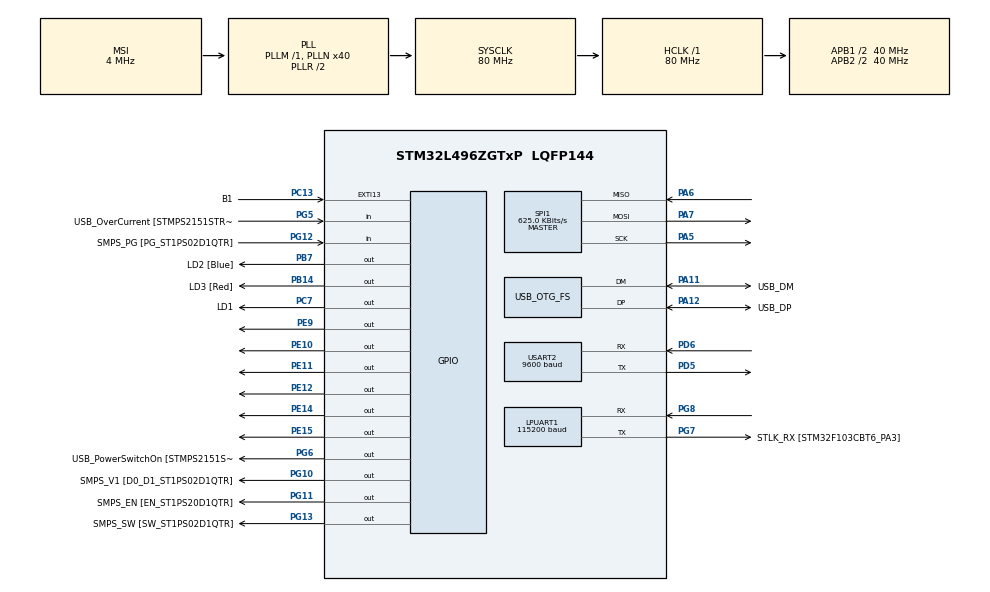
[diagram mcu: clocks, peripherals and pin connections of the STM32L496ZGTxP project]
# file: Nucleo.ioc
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LPUART1.BaudRate=115200
LPUART1.WordLength=UART_WORDLENGTH_8B
Mcu.Family=STM32L4
Mcu.Name=STM32L496ZGTxP
Mcu.Package=LQFP144
NVIC.EXTI15_10_IRQn=true\:0\:0\:false\:false\:true\:true\:true\:true
NVIC.LPUART1_IRQn=true\:0\:0\:false\:false\:true\:true\:true\:true
NVIC.OTG_FS_IRQn=true\:0\:0\:false\:false\:true\:true\:true\:true
NVIC.PriorityGroup=NVIC_PRIORITYGROUP_4
NVIC.USART2_IRQn=true\:0\:0\:false\:false\:true\:true\:true\:true
PA10.GPIO_Label=USB_ID
PA10.Signal=USB_OTG_FS_ID
PA11.GPIO_Label=USB_DM
PA11.Mode=Host_Only
PA11.Signal=USB_OTG_FS_DM
PA12.GPIO_Label=USB_DP
PA12.Mode=Host_Only
PA12.Signal=USB_OTG_FS_DP
PA13\ (JTMS/SWDIO).GPIO_Label=TMS
PA13\ (JTMS/SWDIO).Mode=Trace_Asynchronous_SW
PA13\ (JTMS/SWDIO).Signal=SYS_JTMS-SWDIO
PA14\ (JTCK/SWCLK).GPIO_Label=TCK
PA14\ (JTCK/SWCLK).Mode=Trace_Asynchronous_SW
PA14\ (JTCK/SWCLK).Signal=SYS_JTCK-SWCLK
PA5.GPIO_PuPd=GPIO_PULLDOWN
PA5.Mode=Full_Duplex_Master
PA5.Signal=SPI1_SCK
PA6.Mode=Full_Duplex_Master
PA6.Signal=SPI1_MISO
PA7.GPIO_PuPd=GPIO_PULLDOWN
PA7.Mode=Full_Duplex_Master
PA7.Signal=SPI1_MOSI
PA8.GPIO_Label=USB_SOF [TP1]
PA8.Signal=USB_OTG_FS_SOF
PA9.GPIO_Label=USB_VBUS
PA9.Signal=USB_OTG_FS_VBUS
PB14.GPIO_Label=LD3 [Red]
PB14.Signal=GPIO_Output
PB3\ (JTDO/TRACESWO).GPIO_Label=SWO
PB3\ (JTDO/TRACESWO).Mode=Trace_Asynchronous_SW
PB3\ (JTDO/TRACESWO).Signal=SYS_JTDO-SWO
PB5.Signal=USART1_CK
PB7.GPIO_Label=LD2 [Blue]
PB7.Signal=GPIO_Output
PC13.GPIO_Label=B1
PC13.GPIO_ModeDefaultEXTI=GPIO_MODE_IT_RISING
PC13.Signal=GPXTI13
PC14-OSC32_IN\ (PC14).Mode=LSE-External-Oscillator
PC14-OSC32_IN\ (PC14).Signal=RCC_OSC32_IN
PC15-OSC32_OUT\ (PC15).Mode=LSE-External-Oscillator
PC15-OSC32_OUT\ (PC15).Signal=RCC_OSC32_OUT
PC7.GPIO_Label=LD1
PC7.Signal=GPIO_Output
PD5.Mode=Asynchronous
PD5.Signal=USART2_TX
PD6.Mode=Asynchronous
PD6.Signal=USART2_RX
PE10.Signal=GPIO_Output
PE11.Signal=GPIO_Output
PE12.Signal=GPIO_Output
PE14.Signal=GPIO_Output
PE15.Signal=GPIO_Output
PE9.Signal=GPIO_Output
PG10.GPIO_Label=SMPS_V1 [D0_D1_ST1PS02D1QTR]
PG10.Signal=GPIO_Output
PG11.GPIO_Label=SMPS_EN [EN_ST1PS20D1QTR]
PG11.Signal=GPIO_Output
PG12.GPIO_Label=SMPS_PG [PG_ST1PS02D1QTR]
PG12.Signal=GPIO_Input
PG13.GPIO_Label=SMPS_SW [SW_ST1PS02D1QTR]
PG13.Signal=GPIO_Output
PG5.GPIO_Label=USB_OverCurrent [STMPS2151STR_FAULT]
PG5.Signal=GPIO_Input
PG6.GPIO_Label=USB_PowerSwitchOn [STMPS2151STR_EN]
PG6.Signal=GPIO_Output
PG7.GPIO_Label=STLK_RX [STM32F103CBT6_PA3]
PG7.Mode=Asynchronous
PG7.Signal=LPUART1_TX
PG8.Mode=Asynchronous
PG8.Signal=LPUART1_RX
PH0-OSC_IN\ (PH0).GPIO_Label=MCO
PH0-OSC_IN\ (PH0).Mode=HSE-External-Oscillator
PH0-OSC_IN\ (PH0).Signal=RCC_OSC_IN
PH1-OSC_OUT\ (PH1).Mode=HSE-External-Oscillator
PH1-OSC_OUT\ (PH1).Signal=RCC_OSC_OUT
ProjectManager.HeapSize=0x200
ProjectManager.StackSize=0x400
ProjectManager.TargetToolchain=STM32CubeIDE
RCC.48MHZClocksFreq_Value=24000000
RCC.ADCFreq_Value=48000000
RCC.AHBFreq_Value=80000000
RCC.APB1CLKDivider=RCC_HCLK_DIV2
RCC.APB1Freq_Value=40000000
RCC.APB1TimFreq_Value=80000000
RCC.APB2CLKDivider=RCC_HCLK_DIV2
RCC.APB2Freq_Value=40000000
RCC.APB2TimFreq_Value=80000000
RCC.CortexFreq_Value=80000000
RCC.HCLKFreq_Value=80000000
RCC.HSE_VALUE=4000000
RCC.HSI48_VALUE=48000000
RCC.HSI_VALUE=16000000
RCC.MSI_VALUE=4000000
RCC.PLLMUL=RCC_PLL_MUL9
RCC.PLLN=40
RCC.PLLSAI1N=24
RCC.PRESCALERUSB=RCC_USBCLKSOURCE_PLL_DIV1_5
RCC.SYSCLKFreq_VALUE=80000000
RCC.SYSCLKSource=RCC_SYSCLKSOURCE_PLLCLK
RCC.SYSCLKSourceVirtual=RCC_SYSCLKSOURCE_PLLCLK
RCC.USBFreq_Value=48000000
RCC.VCOOutputFreq_Value=160000000
SPI1.BaudRatePrescaler=SPI_BAUDRATEPRESCALER_64
SPI1.CalculateBaudRate=625.0 KBits/s
SPI1.DataSize=SPI_DATASIZE_8BIT
SPI1.Direction=SPI_DIRECTION_2LINES
SPI1.Mode=SPI_MODE_MASTER
SPI1.NSSPMode=SPI_NSS_PULSE_DISABLE
SPI1.VirtualType=VM_MASTER
USART2.BaudRate=9600
USART2.VirtualMode-Asynchronous=VM_ASYNC
USB_HOST.BSP.number=1
USB_HOST.USBH_HandleTypeDef=hUsbHostFS
USB_HOST.VirtualModeFS=Audio
USB_HOST0.BSP.STBoard=false
USB_HOST0.BSP.api=UnknownBspDriver
USB_HOST0.BSP.instance=PG6
USB_HOST0.BSP.ip=GPIO
USB_HOST0.BSP.mode=Output
USB_HOST0.BSP.name=Drive_VBUS_FS
USB_HOST0.BSP.solution=PG6
USB_OTG_FS.VirtualMode=Host_Only
USB_OTG_FS.phy_itface=HCD_PHY_EMBEDDED
VP_USB_HOST_VS_USB_HOST_AUDIO_FS.Mode=AUDIO_FS
board=NUCLEO-L496ZG-P

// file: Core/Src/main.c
/* USER CODE BEGIN Header */

/**
  ******************************************************************************
  * @file           : main.c
  * @brief          : Main program body
  ******************************************************************************
  * @attention
  *
  * Copyright (c) 2023 STMicroelectronics.
  * All rights reserved.
  *
  * This software is licensed under terms that can be found in the LICENSE file
  * in the root directory of this software component.
  * If no LICENSE file comes with this software, it is provided AS-IS.
  *
  ******************************************************************************
  */
/* USER CODE END Header */
#include "main.h"
#include "usb_host.h"

UART_HandleTypeDef hlpuart1;
UART_HandleTypeDef huart2;

SPI_HandleTypeDef hspi1;

/* USER CODE BEGIN PV */

unsigned long numTestsMRAM0 = 0;
unsigned long  numTestsMRAM1 = 0;
unsigned long  numTestsMRAM2 = 0;
unsigned long  numTestsMRAM3 = 0;
unsigned long  numTestsMRAM4 = 0;
unsigned long  numTestsMRAM5 = 0;

uint32_t numFailsMRAM0 = 0;
uint32_t numFailsMRAM1 = 0;
uint32_t numFailsMRAM2 = 0;
uint32_t numFailsMRAM3 = 0;
uint32_t numFailsMRAM4 = 0;
uint32_t numFailsMRAM5 = 0;

uint8_t currChip = 0;
uint8_t currState = 0;
uint8_t consoleMode = 1;

uint8_t wren = 0x06;
uint8_t configure_code_1[] = {0x71,0x00,0x00,0x05,0x05}; // code for configuring avalanche AS1016A04
uint8_t configure_code_2[] = {0x71,0x00,0x00,0x05,0x02}; // code for configuring NETSOL S3A1604V0M
uint8_t Rx[1] = {'\0'};
uint8_t read = 0;
char testDetailCmd[3] = { '?', '\r', '\n'};
/* USER CODE END PV */

void SystemClock_Config(void);
static void MX_GPIO_Init(void);
static void MX_USART2_UART_Init(void);
static void MX_SPI1_Init(void);
static void MX_LPUART1_UART_Init(void);
void MX_USB_HOST_Process(void);

/* USER CODE BEGIN PFP */
void HAL_GPIO_EXTI_Callback(uint16_t GPIO_Pin);
//void HAL_UART_RxCpltCallback(UART_HandleTypeDef *huart);
void WriteMem(uint8_t chip, uint32_t addr, uint16_t length, uint8_t* data);
void ReadMem(uint8_t chip, uint32_t addr, uint16_t length, uint8_t* buffer);
/* USER CODE END PFP */

/* USER CODE BEGIN 0 */

void clrstr(uint8_t* str, int len){
	for(int i=0; i<len; i++){
		*(str+i)='\0';
	}
}

// wait in nanoseconds
void delay_ns(uint32_t ns){
	//get system clock frequency
	uint32_t system_clock_hz = SystemCoreClock;
	//calculate the number of cycles required for this delay
	uint64_t cycles_needed_64 = (uint64_t)system_clock_hz * ns;

	//Now divide by the number of nanoseconds in a second
	uint32_t cycles_needed = cycles_needed_64/1000000000;

	uint32_t start_cycle = DWT->CYCCNT;
	while((DWT->CYCCNT-start_cycle)<cycles_needed);
}

void HAL_UART_RxCpltCallback(UART_HandleTypeDef *huart){                                       // Weakly defined function, used for callback in the ISR in this case
	                                                                                          // Better practice to have it in a separate file
	HAL_UART_Receive_IT(&hlpuart1, Rx, 1); //It will then self-sustain

    if(Rx[0]==testDetailCmd[read])                                                    //strcmp may be wrongly used here
      {
      	read++;
      }
    else
      {
    	  if(Rx[0]==testDetailCmd[0]){
    		  read = 1;
    	  }
    	  else{
    	      	read=0;
    	  }
      }
      if(read>=2)
      {
      	read=0;
      	if(consoleMode){
      		uint8_t data[76];
      		clrstr(data, 76);
      		HAL_UART_Transmit(&hlpuart1,"Memory Test Latest Results: \r\n\n" ,31,40); //SET TO /0 SO AS TO REMOVE EXTRANEOUS STUFF
      		clrstr(data, 76);
      		sprintf(data, "MRAM0 tests completed:\t%lu\r\nMRAM0 failures:\t\t%u\r\n", numTestsMRAM0, numFailsMRAM0);
      		HAL_UART_Transmit(&hlpuart1,data,strlen(data),40);
      		clrstr(data, 76);
      		sprintf(data, "MRAM1 tests completed:\t%lu\r\nMRAM1 failures:\t\t%u\r\n", numTestsMRAM1, numFailsMRAM1);
      		HAL_UART_Transmit(&hlpuart1,data,strlen(data),40);
      		clrstr(data, 76);
      		sprintf(data, "MRAM2 tests completed:\t%lu\r\nMRAM2 failures:\t\t%u\r\n", numTestsMRAM2, numFailsMRAM2);
      		HAL_UART_Transmit(&hlpuart1,data,strlen(data),40);
      		clrstr(data, 76);
      		sprintf(data, "MRAM3 tests completed:\t%lu\r\nMRAM3 failures:\t\t%u\r\n", numTestsMRAM3, numFailsMRAM3);
      		HAL_UART_Transmit(&hlpuart1,data,strlen(data),40);
      		clrstr(data, 76);
      		sprintf(data, "MRAM4 tests completed:\t%lu\r\nMRAM4 failures:\t\t%u\r\n", numTestsMRAM4, numFailsMRAM4);
      		HAL_UART_Transmit(&hlpuart1,data,strlen(data),40);
      		clrstr(data, 76);
      		sprintf(data, "MRAM5 tests completed:\t%lu\r\nMRAM5 failures:\t\t%u\r\n", numTestsMRAM5, numFailsMRAM5);
      		HAL_UART_Transmit(&hlpuart1,data,strlen(data),40);
      		clrstr(data, 76);

      		HAL_UART_Transmit(&hlpuart1,"\nCurrently testing chip ",24,40);
      		switch(currChip){
      		case 0:
      			HAL_UART_Transmit(&hlpuart1,"MRAM0\r\n",7,40);
      			break;
      		case 1:
      			HAL_UART_Transmit(&hlpuart1,"MRAM1\r\n",7,40);
      			break;
      		case 2:
      			HAL_UART_Transmit(&hlpuart1,"MRAM2\r\n",7,40);
      			break;
      		case 3:
      			HAL_UART_Transmit(&hlpuart1,"MRAM3\r\n",7,40);
      			break;
      		case 4:
      			HAL_UART_Transmit(&hlpuart1,"MRAM4\r\n",7,40);
      			break;
      		case 5:
      			HAL_UART_Transmit(&hlpuart1,"MRAM5\r\n",7,40);
      			break;
      		}
      		HAL_UART_Transmit(&hlpuart1,"Current state: ",15,40);
      		switch(currState){
      		case 0:
      			HAL_UART_Transmit(&hlpuart1,"UP:w0\r\n\r\n",9,40);
      			break;
      		case 1:
      			HAL_UART_Transmit(&hlpuart1,"UP:r0 w1\r\n\r\n",12,40);
      			break;
      		case 2:
      			HAL_UART_Transmit(&hlpuart1,"UP:r1 w0\r\n\r\n",12,40);
      			break;
      		case 3:
      			HAL_UART_Transmit(&hlpuart1,"DOWN:r0 w1\r\n\r\n",14,40);
      			break;
      		case 4:
      			HAL_UART_Transmit(&hlpuart1,"DOWN:r1 w0\r\n\r\n",14,40);
      			break;
      		case 5:
      			HAL_UART_Transmit(&hlpuart1,"DOWN:r0\r\n\r\n",11,40);
      			break;
      		}
      	}
      	else{                       // The rest of the function won't be used
      		uint8_t data[28];

      		data[0] = (numTestsMRAM0>>24)&0x000000FF;
      		data[1] = (numTestsMRAM0>>16)&0x000000FF;
      		data[2] = (numTestsMRAM0>>8)&0x000000FF;
      		data[3] = numTestsMRAM0&0x000000FF;              //for MRAM0
      		data[4] = (numTestsMRAM1>>24)&0x000000FF;
      		data[5] = (numTestsMRAM1>>16)&0x000000FF;
      		data[6] = (numTestsMRAM1>>8)&0x000000FF;
      		data[7] = numTestsMRAM1&0x000000FF;              //for MRAM1
      		data[8] = (numTestsMRAM2>>24)&0x000000FF;
      		data[9] = (numTestsMRAM2>>16)&0x000000FF;
      		data[10] = (numTestsMRAM2>>8)&0x000000FF;
      		data[11] = numTestsMRAM2&0x000000FF;             //for MRAM2
      		data[12] = (numTestsMRAM3>>24)&0x000000FF;
      		data[13] = (numTestsMRAM3>>16)&0x000000FF;
      		data[14] = (numTestsMRAM3>>8)&0x000000FF;
      		data[15] = numTestsMRAM3&0x000000FF;             //for MRAM3

      		data[16] = (numFailsMRAM0>>8)&0x00FF;
      		data[17] = numFailsMRAM0&0x00FF;
      		data[18] = (numFailsMRAM1>>8)&0x00FF;
      		data[19] = numFailsMRAM1&0x00FF;
      		data[20] = (numFailsMRAM2>>8)&0x00FF;
      		data[21] = numFailsMRAM2&0x00FF;
      		data[22] = (numFailsMRAM3>>8)&0x00FF;
      		data[23] = numFailsMRAM3&0x00FF;

      		data[24] = currChip;
      		data[25] = currState;

      		data[26] = '\r';
      		data[27] = '\n';

      		HAL_UART_Transmit(&hlpuart1,data,28,30);

      	}
      }
      Rx[0] = '\0';

}

void WriteMem(uint8_t chip, uint32_t addr, uint16_t length, uint8_t* data){
	length += 4; //Account for the header
	uint16_t selectedPin = 0;
	switch(chip){
	case 0:
		selectedPin = 1024;
		break;
	case 1:
		selectedPin = 4096;
		break;
	case 2:
		selectedPin = 16384;
		break;
	case 3:
		selectedPin = 32768;
		break;
	case 4:
		selectedPin = 512;
		break;
	case 5:
		selectedPin = 2048;
		break;
	}

	/*if(chip>1){ //If it's FRAM we need to re-enable writes after every write
		  HAL_GPIO_WritePin(GPIOE, GPIO_PIN_14|GPIO_PIN_15, GPIO_PIN_RESET); //Set WRite ENable
		  HAL_SPI_Transmit(&hspi1, &wren, 1, 10);
		  HAL_GPIO_WritePin(GPIOE, GPIO_PIN_14|GPIO_PIN_15, GPIO_PIN_SET);
	}*/

	uint8_t TxBuff[length];
	TxBuff[0] = 0x02;
	TxBuff[1] = (addr>>16)&0x0000FF;
	TxBuff[2] = (addr>>8)&0x0000FF;
	TxBuff[3] = (addr)&0x0000FF;                                                                   //we only need the first 24 bits (16Mb)

	for(int i=4; i<length; i++){
		TxBuff[i] = *(data+(i-4)); //Loop through all the data and put it into the Tx buffer.
	}

	HAL_GPIO_WritePin(GPIOE, selectedPin, GPIO_PIN_RESET);
	HAL_SPI_Transmit(&hspi1, (uint8_t *)TxBuff, length, 100);
	HAL_GPIO_WritePin(GPIOE, selectedPin, GPIO_PIN_SET);
}

void ReadMem(uint8_t chip, uint32_t addr, uint16_t length, uint8_t* buffer){
	length += 4; //Account for the header

	uint16_t selectedPin = 0;
	switch(chip){
	case 0:
		selectedPin = 1024;
		break;
	case 1:
		selectedPin = 4096;
		break;
	case 2:
		selectedPin = 16384;
		break;
	case 3:
		selectedPin = 32768;
		break;
	case 4:
		selectedPin = 512;
		break;
	case 5:
		selectedPin = 2048;
		break;
	}

	uint8_t TxBuff[length];
	TxBuff[0] = 0x03;
	TxBuff[1] = (addr>>16)&0x0000FF;
	TxBuff[2] = (addr>>8)&0x0000FF;
	TxBuff[3] = (addr)&0x0000FF;
	for(int j = 4; j< length; j++){
		TxBuff[j] = '\0';
	}
	uint8_t RxBuff[length];

	HAL_GPIO_WritePin(GPIOE, selectedPin, GPIO_PIN_RESET);
	HAL_SPI_TransmitReceive(&hspi1, (uint8_t *)TxBuff, (uint8_t *)RxBuff, length, length);
	HAL_GPIO_WritePin(GPIOE, selectedPin, GPIO_PIN_SET);

	for(int i=4; i<length; i++){
		*(buffer+(i-4)) = RxBuff[i]; //Load all the received data into the proper location
	}

}

// this is the Memory test for 4Mb MR25H40MDF
void MemTest(int chip, uint32_t* fails, unsigned long* num_reads){

    uint8_t zero = 0;                 //Maybe make a 6-deep array of ints to track the failures in each march element?   //failure is redundant
    uint8_t one = 255;
    uint8_t readByte = 0;
    uint8_t writeByte = 0;

    currState = 0;
    HAL_UART_Transmit(&hlpuart1,(uint8_t*)"currState 0\r\n",13,50);
    HAL_GPIO_WritePin(GPIOB, GPIO_PIN_7, GPIO_PIN_SET);
    //UP(w0);
    for(int x=0; x<524288; x++){ //Loop through each memory location
    	WriteMem(chip, x, 1, &zero); //Write a 0 at each address                                     // the final 0 is suspicious, it may cause error bc it should be a pointer
    }

    currState = 1;
    HAL_UART_Transmit(&hlpuart1,(uint8_t*)"currState 1\r\n",13,50);
    HAL_GPIO_WritePin(GPIOC, GPIO_PIN_7, GPIO_PIN_SET);
    //UP(r0, w1);
    for(int y=0; y<524288; y++){ 		//Loop through each memory location
    	for(int z=0; z<8; z++){ 		//Read 0, write 1 at each bit
    		ReadMem(chip, y, 1, &readByte);

    		(*num_reads) ++;
    		writeByte = readByte;
    		writeByte |= (0x01<<(7-z)); //Copy the byte, except we set the MSb to 1
    		*fails += (readByte>>(7-z))&0x01; //Read the MSb and if it's not 0, increment failures

        	WriteMem(chip, y, 1, &writeByte); //Read 0, write 1 at each bit
    	}
    }

    HAL_GPIO_WritePin(GPIOC, GPIO_PIN_7, GPIO_PIN_RESET);

    currState = 2;
    HAL_UART_Transmit(&hlpuart1,(uint8_t*)"currState 2\r\n",13,50);
    HAL_GPIO_WritePin(GPIOB, GPIO_PIN_14, GPIO_PIN_SET);
    //UP(r1, w0);
    for(int y=0; y<524288; y++){ 		//Loop through each memory location
    	for(int z=0; z<8; z++){ 		//Read 1, write 0 at each bit
    		ReadMem(chip, y, 1, &readByte);

    		(*num_reads) ++;

    		writeByte = readByte;
    		writeByte &= ~(0x01<<(7-z)); //Copy the byte, except we set the MSb to 0
    		*fails += ((~readByte)>>(7-z))&0x01; //Read the MSb and if it's not 1, increment failures
        	WriteMem(chip, y, 1, &writeByte);

    	}
    }
    HAL_GPIO_WritePin(GPIOB, GPIO_PIN_14, GPIO_PIN_RESET);

    HAL_GPIO_WritePin(GPIOB, GPIO_PIN_7, GPIO_PIN_RESET);

    currState = 3;
    HAL_GPIO_WritePin(GPIOC, GPIO_PIN_7, GPIO_PIN_SET);
    //DOWN(r0, w1);
    for(int y=524287; y>=0; y--){ 		//Loop through each memory location
    	for(int z=0; z<8; z++){ 		//Read 0, write 1 at each bit
    		ReadMem(chip, y, 1, &readByte);

    		(*num_reads) ++;

    		writeByte = readByte;
    		writeByte |= (0x01<<z); //Copy the byte, except we set the LSb to 1
    		*fails += (readByte>>z)&0x01; //Read the LSb and if it's not 0, increment failures
        	WriteMem(chip, y, 1, &writeByte);
    	}
    }
    HAL_GPIO_WritePin(GPIOC, GPIO_PIN_7, GPIO_PIN_RESET);

    currState = 4;
    HAL_GPIO_WritePin(GPIOB, GPIO_PIN_14, GPIO_PIN_SET);
    //DOWN(r1, w0);
    for(int y=524287; y>=0; y--){ 		//Loop through each memory location
    	for(int z=0; z<8; z++){			//Read 1, write 0 at each bit
    		ReadMem(chip, y, 1, &readByte);

    		(*num_reads) ++;

    		writeByte = readByte;
    		writeByte &= ~(0x01<<z); //Copy the byte, except we set the LSb to 0
    		*fails += ((~readByte)>>z)&0x01; //Read the LSb and if it's not 1, increment failures
        	WriteMem(chip, y, 1, &writeByte);
    	}
    }
    HAL_GPIO_WritePin(GPIOB, GPIO_PIN_14, GPIO_PIN_RESET);

    currState = 5;
    //DOWN(r0);
    for(int y=524287; y>=0; y--){ 		//Loop through each memory location
    	ReadMem(chip, y, 1, &readByte);

    	(*num_reads)++;

    	if(readByte>0){
    		(*fails)++;					//If any bytes are non-zero, increment failures
    	}
    }

    return;
}

// Memory test for memory with 16M memory (The remaining three MRAMs)
void MemTest_16(int chip, uint32_t* fails, unsigned long* num_reads){

    uint8_t zero = 0;                 //Maybe make a 6-deep array of ints to track the failures in each march element?   //failure is redundant
    uint8_t readByte = 0;
    uint8_t writeByte = 0;

    currState = 0;

    HAL_GPIO_WritePin(GPIOB, GPIO_PIN_7, GPIO_PIN_SET);
    //UP(w0);
    for(int x=0; x<2097152; x++){ //Loop through each memory location
    	WriteMem(chip, x, 1, &zero); //Write a 0 at each address                                     // the final 0 is suspicious, it may cause error bc it should be a pointer
    }

    /*uint8_t data[16];
    ReadMem(1, 100, 1, &readByte);
    sprintf(data, "read value:\t\t%u\r\n", readByte);
    HAL_UART_Transmit(&hlpuart1,data,sizeof(data),100);*/

    currState = 1;
    HAL_GPIO_WritePin(GPIOC, GPIO_PIN_7, GPIO_PIN_SET);
    //UP(r0, w1);
    for(int y=0; y<2097152; y++){ 		//Loop through each memory location
    	for(int z=0; z<8; z++){ 		//Read 0, write 1 at each bit
    		ReadMem(chip, y, 1, &readByte);
    		(*num_reads)++;
    		writeByte = readByte;
    		writeByte |= (0x01<<(7-z)); //Copy the byte, except we set the MSb to 1
    		*fails += (readByte>>(7-z))&0x01; //Read the MSb and if it's not 0, increment failures
        	WriteMem(chip, y, 1, &writeByte); //Read 0, write 1 at each bit
    	}
    }
    HAL_GPIO_WritePin(GPIOC, GPIO_PIN_7, GPIO_PIN_RESET);

    currState = 2;
    HAL_GPIO_WritePin(GPIOB, GPIO_PIN_14, GPIO_PIN_SET);
    //UP(r1, w0);
    for(int y=0; y<2097152; y++){ 		//Loop through each memory location
    	for(int z=0; z<8; z++){ 		//Read 1, write 0 at each bit
    		ReadMem(chip, y, 1, &readByte);
    		(*num_reads)++;
    		writeByte = readByte;
    		writeByte &= ~(0x01<<(7-z)); //Copy the byte, except we set the MSb to 0
    		*fails += ((~readByte)>>(7-z))&0x01; //Read the MSb and if it's not 1, increment failures
        	WriteMem(chip, y, 1, &writeByte);
    	}
    }
    HAL_GPIO_WritePin(GPIOB, GPIO_PIN_14, GPIO_PIN_RESET);

    HAL_GPIO_WritePin(GPIOB, GPIO_PIN_7, GPIO_PIN_RESET);

    currState = 3;
    HAL_GPIO_WritePin(GPIOC, GPIO_PIN_7, GPIO_PIN_SET);
    //DOWN(r0, w1);
    for(int y=2097151; y>=0; y--){ 		//Loop through each memory location
    	for(int z=0; z<8; z++){ 		//Read 0, write 1 at each bit
    		ReadMem(chip, y, 1, &readByte);
    		(*num_reads)++;
    		writeByte = readByte;
    		writeByte |= (0x01<<z); //Copy the byte, except we set the LSb to 1
    		*fails += (readByte>>z)&0x01; //Read the LSb and if it's not 0, increment failures
        	WriteMem(chip, y, 1, &writeByte);

    	}
    }
    HAL_GPIO_WritePin(GPIOC, GPIO_PIN_7, GPIO_PIN_RESET);

    currState = 4;
    HAL_GPIO_WritePin(GPIOB, GPIO_PIN_14, GPIO_PIN_SET);
    //DOWN(r1, w0);
    for(int y=2097151; y>=0; y--){ 		//Loop through each memory location
    	for(int z=0; z<8; z++){			//Read 1, write 0 at each bit
    		ReadMem(chip, y, 1, &readByte);
    		(*num_reads)++;
    		writeByte = readByte;
    		writeByte &= ~(0x01<<z); //Copy the byte, except we set the LSb to 0
    		*fails += ((~readByte)>>z)&0x01; //Read the LSb and if it's not 1, increment failures
        	WriteMem(chip, y, 1, &writeByte);
    	}
    }
    HAL_GPIO_WritePin(GPIOB, GPIO_PIN_14, GPIO_PIN_RESET);

    currState = 5;
    //DOWN(r0);
    for(int y=2097151; y>=0; y--){ 		//Loop through each memory location
    	ReadMem(chip, y, 1, &readByte);
    	(*num_reads)++;
    	if(readByte>0){
    		(*fails)++;					//If any bytes are non-zero, increment failures
    	}
    }

    return;

}

/* USER CODE END 0 */

int main(void)
{

  /* MCU Configuration--------------------------------------------------------*/

  /* Reset of all peripherals, Initializes the Flash interface and the Systick. */
  HAL_Init();

  /* Configure the system clock */
  SystemClock_Config();

  /* Initialize all configured peripherals */
  MX_GPIO_Init();
  MX_USB_HOST_Init();
  MX_USART2_UART_Init();
  MX_SPI1_Init();
  MX_LPUART1_UART_Init();
  /* USER CODE BEGIN 2 */
  CoreDebug->DEMCR |= CoreDebug_DEMCR_TRCENA_Msk;
  DWT->CTRL |= DWT_CTRL_CYCCNTENA_Msk;
  DWT->CYCCNT =0;

  HAL_GPIO_WritePin(GPIOE, GPIO_PIN_9|GPIO_PIN_10|GPIO_PIN_11|GPIO_PIN_12|GPIO_PIN_14|GPIO_PIN_15, GPIO_PIN_RESET); //Set WRite ENable
  HAL_SPI_Transmit(&hspi1, &wren, 1, 10); // to enable write on the MRAM chip
  HAL_GPIO_WritePin(GPIOE, GPIO_PIN_9|GPIO_PIN_10|GPIO_PIN_11|GPIO_PIN_12|GPIO_PIN_14|GPIO_PIN_15, GPIO_PIN_SET);

  HAL_UART_Receive_IT(&hlpuart1, Rx, 1);

  HAL_Delay(1); //short delay between transactions

  //We have to configure the mode of "Avalanche AS1016A04/Avalanche AS1004A04" such that we get the back-to-back mode
  //Then we don't need wren every time we want to write
  HAL_GPIO_WritePin(GPIOE,  GPIO_PIN_9|GPIO_PIN_10|GPIO_PIN_11|GPIO_PIN_12|GPIO_PIN_14|GPIO_PIN_15, GPIO_PIN_RESET);
  HAL_SPI_Transmit(&hspi1, configure_code_1, 5, 20);
  HAL_GPIO_WritePin(GPIOE,  GPIO_PIN_9|GPIO_PIN_10|GPIO_PIN_11|GPIO_PIN_12|GPIO_PIN_14|GPIO_PIN_15, GPIO_PIN_SET);
/*
  //we have to configure the mode of "NETSOL S3A1606VOM" such that we get the back-to-back mode
  //Then we don't need wren every time we want to write
  HAL_GPIO_WritePin(GPIOE, GPIO_PIN_15, GPIO_PIN_RESET);
  HAL_SPI_Transmit(&hspi1, configure_code_2, 5, 20);
  HAL_GPIO_WritePin(GPIOE, GPIO_PIN_15, GPIO_PIN_SET);
*/

  HAL_GPIO_WritePin(GPIOE,  GPIO_PIN_9|GPIO_PIN_10|GPIO_PIN_11|GPIO_PIN_12|GPIO_PIN_14|GPIO_PIN_15, GPIO_PIN_RESET); //Set WRite ENable
  HAL_SPI_Transmit(&hspi1, &wren, 1, 10); // to enable write on the MRAM chip
  HAL_GPIO_WritePin(GPIOE,  GPIO_PIN_9|GPIO_PIN_10|GPIO_PIN_11|GPIO_PIN_12|GPIO_PIN_14|GPIO_PIN_15, GPIO_PIN_SET);

  HAL_UART_Transmit(&hlpuart1, (uint8_t*)"\r\n", 2, 1000);//Get the interrupt running
  /* USER CODE END 2 */

  /* Infinite loop */
  /* USER CODE BEGIN WHILE */

  // check if the code is actually running

  int pos = 0;
  uint8_t writeByte = 0;
  uint8_t readByte = 0;
  int chip = 0;
  uint8_t data[37];

  while (1)
  {
    /* USER CODE END WHILE */
    MX_USB_HOST_Process();

    /* USER CODE BEGIN 3 */

    /*currChip = 0;
    MemTest(0, &numFailsMRAM0,&numTestsMRAM0);

    currChip = 1;
    MemTest(1, &numFailsMRAM1, &numTestsMRAM1);

    currChip = 2;
    MemTest(2, &numFailsMRAM2, &numTestsMRAM2);

    currChip = 3;
    MemTest(3, &numFailsMRAM3, &numTestsMRAM3);

    currChip = 4;
    MemTest(4, &numFailsMRAM4, &numTestsMRAM4);

    currChip = 5;
    MemTest(5, &numFailsMRAM5, &numTestsMRAM5);*/

    WriteMem(chip, pos, 1, &writeByte); //Read 0, write 1 at each bit
    ReadMem(chip, pos, 1, &readByte);

    sprintf(data, "chip number: %u  read value:\t\t%u\r\n",chip,readByte);
    HAL_UART_Transmit(&hlpuart1,data,sizeof(data),20);
    clrstr(data,37);

    chip++;
    pos++;
    if (chip==6){
    	chip=0;
    	writeByte++;
    }
    if (writeByte==256){
    	writeByte=0;
    }
    HAL_Delay(1000);
    if (writeByte!=readByte){
    	numFailsMRAM0++;
    }

  }

  /* USER CODE END 3 */
}

void SystemClock_Config(void)
{
  RCC_OscInitTypeDef RCC_OscInitStruct = {0};
  RCC_ClkInitTypeDef RCC_ClkInitStruct = {0};

  /** Configure the main internal regulator output voltage
  */
  if (HAL_PWREx_ControlVoltageScaling(PWR_REGULATOR_VOLTAGE_SCALE1) != HAL_OK)
  {
    Error_Handler();
  }

  /** Configure LSE Drive Capability
  */
  HAL_PWR_EnableBkUpAccess();
  __HAL_RCC_LSEDRIVE_CONFIG(RCC_LSEDRIVE_LOW);

  /** Initializes the RCC Oscillators according to the specified parameters
  * in the RCC_OscInitTypeDef structure.
  */
  RCC_OscInitStruct.OscillatorType = RCC_OSCILLATORTYPE_LSE|RCC_OSCILLATORTYPE_MSI;
  RCC_OscInitStruct.LSEState = RCC_LSE_ON;
  RCC_OscInitStruct.MSIState = RCC_MSI_ON;
  RCC_OscInitStruct.MSICalibrationValue = 0;
  RCC_OscInitStruct.MSIClockRange = RCC_MSIRANGE_6;
  RCC_OscInitStruct.PLL.PLLState = RCC_PLL_ON;
  RCC_OscInitStruct.PLL.PLLSource = RCC_PLLSOURCE_MSI;
  RCC_OscInitStruct.PLL.PLLM = 1;
  RCC_OscInitStruct.PLL.PLLN = 40;
  RCC_OscInitStruct.PLL.PLLP = RCC_PLLP_DIV2;
  RCC_OscInitStruct.PLL.PLLQ = RCC_PLLQ_DIV2;
  RCC_OscInitStruct.PLL.PLLR = RCC_PLLR_DIV2;
  if (HAL_RCC_OscConfig(&RCC_OscInitStruct) != HAL_OK)
  {
    Error_Handler();
  }

  /** Initializes the CPU, AHB and APB buses clocks
  */
  RCC_ClkInitStruct.ClockType = RCC_CLOCKTYPE_HCLK|RCC_CLOCKTYPE_SYSCLK
                              |RCC_CLOCKTYPE_PCLK1|RCC_CLOCKTYPE_PCLK2;
  RCC_ClkInitStruct.SYSCLKSource = RCC_SYSCLKSOURCE_PLLCLK;
  RCC_ClkInitStruct.AHBCLKDivider = RCC_SYSCLK_DIV1;
  RCC_ClkInitStruct.APB1CLKDivider = RCC_HCLK_DIV2;
  RCC_ClkInitStruct.APB2CLKDivider = RCC_HCLK_DIV2;

  if (HAL_RCC_ClockConfig(&RCC_ClkInitStruct, FLASH_LATENCY_4) != HAL_OK)
  {
    Error_Handler();
  }

  /** Enable MSI Auto calibration
  */
  HAL_RCCEx_EnableMSIPLLMode();
}

static void MX_LPUART1_UART_Init(void)
{

  hlpuart1.Instance = LPUART1;
  hlpuart1.Init.BaudRate = 115200;
  hlpuart1.Init.WordLength = UART_WORDLENGTH_8B;
  hlpuart1.Init.StopBits = UART_STOPBITS_1;
  hlpuart1.Init.Parity = UART_PARITY_NONE;
  hlpuart1.Init.Mode = UART_MODE_TX_RX;
  hlpuart1.Init.HwFlowCtl = UART_HWCONTROL_NONE;
  hlpuart1.Init.OneBitSampling = UART_ONE_BIT_SAMPLE_DISABLE;
  hlpuart1.AdvancedInit.AdvFeatureInit = UART_ADVFEATURE_NO_INIT;
  if (HAL_UART_Init(&hlpuart1) != HAL_OK)
  {
    Error_Handler();
  }

}

static void MX_USART2_UART_Init(void)
{

  huart2.Instance = USART2;
  huart2.Init.BaudRate = 9600;
  huart2.Init.WordLength = UART_WORDLENGTH_8B;
  huart2.Init.StopBits = UART_STOPBITS_1;
  huart2.Init.Parity = UART_PARITY_NONE;
  huart2.Init.Mode = UART_MODE_TX_RX;
  huart2.Init.HwFlowCtl = UART_HWCONTROL_NONE;
  huart2.Init.OverSampling = UART_OVERSAMPLING_16;
  huart2.Init.OneBitSampling = UART_ONE_BIT_SAMPLE_DISABLE;
  huart2.AdvancedInit.AdvFeatureInit = UART_ADVFEATURE_NO_INIT;
  if (HAL_UART_Init(&huart2) != HAL_OK)
  {
    Error_Handler();
  }

}

static void MX_SPI1_Init(void)
{

  /* SPI1 parameter configuration*/
  hspi1.Instance = SPI1;
  hspi1.Init.Mode = SPI_MODE_MASTER;
  hspi1.Init.Direction = SPI_DIRECTION_2LINES;
  hspi1.Init.DataSize = SPI_DATASIZE_8BIT;
  hspi1.Init.CLKPolarity = SPI_POLARITY_LOW;
  hspi1.Init.CLKPhase = SPI_PHASE_1EDGE;
  hspi1.Init.NSS = SPI_NSS_SOFT;
  hspi1.Init.BaudRatePrescaler = SPI_BAUDRATEPRESCALER_64;
  hspi1.Init.FirstBit = SPI_FIRSTBIT_MSB;
  hspi1.Init.TIMode = SPI_TIMODE_DISABLE;
  hspi1.Init.CRCCalculation = SPI_CRCCALCULATION_DISABLE;
  hspi1.Init.CRCPolynomial = 7;
  hspi1.Init.CRCLength = SPI_CRC_LENGTH_DATASIZE;
  hspi1.Init.NSSPMode = SPI_NSS_PULSE_DISABLE;
  if (HAL_SPI_Init(&hspi1) != HAL_OK)
  {
    Error_Handler();
  }

}

static void MX_GPIO_Init(void)
{
  GPIO_InitTypeDef GPIO_InitStruct = {0};
/* USER CODE BEGIN MX_GPIO_Init_1 */
  //HAL_GPIO_WritePin(GPIOE, GPIO_PIN_10|GPIO_PIN_12|GPIO_PIN_14|GPIO_PIN_15, GPIO_PIN_SET); //May need this if code is regenerated
  /*Configure GPIO pin Output Level*/
  //HAL_GPIO_WritePin(GPIOA, GPIO_PIN_5|GPIO_PIN_6, GPIO_PIN_RESET); //And this
/* USER CODE END MX_GPIO_Init_1 */

  /* GPIO Ports Clock Enable */
  __HAL_RCC_GPIOC_CLK_ENABLE();
  __HAL_RCC_GPIOH_CLK_ENABLE();
  __HAL_RCC_GPIOA_CLK_ENABLE();
  __HAL_RCC_GPIOE_CLK_ENABLE();
  __HAL_RCC_GPIOB_CLK_ENABLE();
  __HAL_RCC_GPIOG_CLK_ENABLE();
  HAL_PWREx_EnableVddIO2();
  __HAL_RCC_GPIOD_CLK_ENABLE();

  /*Configure GPIO pin Output Level */
  HAL_GPIO_WritePin(GPIOE, GPIO_PIN_9|GPIO_PIN_10|GPIO_PIN_11|GPIO_PIN_12
                          |GPIO_PIN_14|GPIO_PIN_15, GPIO_PIN_RESET);

  /*Configure GPIO pin Output Level */
  HAL_GPIO_WritePin(GPIOB, LD3_Pin|LD2_Pin, GPIO_PIN_RESET);

  /*Configure GPIO pin Output Level */
  HAL_GPIO_WritePin(GPIOG, USB_PowerSwitchOn_Pin|SMPS_V1_Pin|SMPS_EN_Pin|SMPS_SW_Pin, GPIO_PIN_RESET);

  /*Configure GPIO pin Output Level */
  HAL_GPIO_WritePin(LD1_GPIO_Port, LD1_Pin, GPIO_PIN_RESET);

  /*Configure GPIO pin : B1_Pin */
  GPIO_InitStruct.Pin = B1_Pin;
  GPIO_InitStruct.Mode = GPIO_MODE_IT_RISING;
  GPIO_InitStruct.Pull = GPIO_NOPULL;
  HAL_GPIO_Init(B1_GPIO_Port, &GPIO_InitStruct);

  /*Configure GPIO pins : PE9 PE10 PE11 PE12
                           PE14 PE15 */
  GPIO_InitStruct.Pin = GPIO_PIN_9|GPIO_PIN_10|GPIO_PIN_11|GPIO_PIN_12
                          |GPIO_PIN_14|GPIO_PIN_15;
  GPIO_InitStruct.Mode = GPIO_MODE_OUTPUT_PP;
  GPIO_InitStruct.Pull = GPIO_NOPULL;
  GPIO_InitStruct.Speed = GPIO_SPEED_FREQ_LOW;
  HAL_GPIO_Init(GPIOE, &GPIO_InitStruct);

  /*Configure GPIO pins : LD3_Pin LD2_Pin */
  GPIO_InitStruct.Pin = LD3_Pin|LD2_Pin;
  GPIO_InitStruct.Mode = GPIO_MODE_OUTPUT_PP;
  GPIO_InitStruct.Pull = GPIO_NOPULL;
  GPIO_InitStruct.Speed = GPIO_SPEED_FREQ_LOW;
  HAL_GPIO_Init(GPIOB, &GPIO_InitStruct);

  /*Configure GPIO pins : USB_OverCurrent_Pin SMPS_PG_Pin */
  GPIO_InitStruct.Pin = USB_OverCurrent_Pin|SMPS_PG_Pin;
  GPIO_InitStruct.Mode = GPIO_MODE_INPUT;
  GPIO_InitStruct.Pull = GPIO_NOPULL;
  HAL_GPIO_Init(GPIOG, &GPIO_InitStruct);

  /*Configure GPIO pins : USB_PowerSwitchOn_Pin SMPS_V1_Pin SMPS_EN_Pin SMPS_SW_Pin */
  GPIO_InitStruct.Pin = USB_PowerSwitchOn_Pin|SMPS_V1_Pin|SMPS_EN_Pin|SMPS_SW_Pin;
  GPIO_InitStruct.Mode = GPIO_MODE_OUTPUT_PP;
  GPIO_InitStruct.Pull = GPIO_NOPULL;
  GPIO_InitStruct.Speed = GPIO_SPEED_FREQ_LOW;
  HAL_GPIO_Init(GPIOG, &GPIO_InitStruct);

  /*Configure GPIO pin : LD1_Pin */
  GPIO_InitStruct.Pin = LD1_Pin;
  GPIO_InitStruct.Mode = GPIO_MODE_OUTPUT_PP;
  GPIO_InitStruct.Pull = GPIO_NOPULL;
  GPIO_InitStruct.Speed = GPIO_SPEED_FREQ_LOW;
  HAL_GPIO_Init(LD1_GPIO_Port, &GPIO_InitStruct);

  /*Configure GPIO pin : PB5 */
  GPIO_InitStruct.Pin = GPIO_PIN_5;
  GPIO_InitStruct.Mode = GPIO_MODE_AF_PP;
  GPIO_InitStruct.Pull = GPIO_NOPULL;
  GPIO_InitStruct.Speed = GPIO_SPEED_FREQ_VERY_HIGH;
  GPIO_InitStruct.Alternate = GPIO_AF7_USART1;
  HAL_GPIO_Init(GPIOB, &GPIO_InitStruct);

  /* EXTI interrupt init*/
  HAL_NVIC_SetPriority(EXTI15_10_IRQn, 0, 0);
  HAL_NVIC_EnableIRQ(EXTI15_10_IRQn);

}

void Error_Handler(void)
{
  __disable_irq();
  while (1)
  {
  }
}
